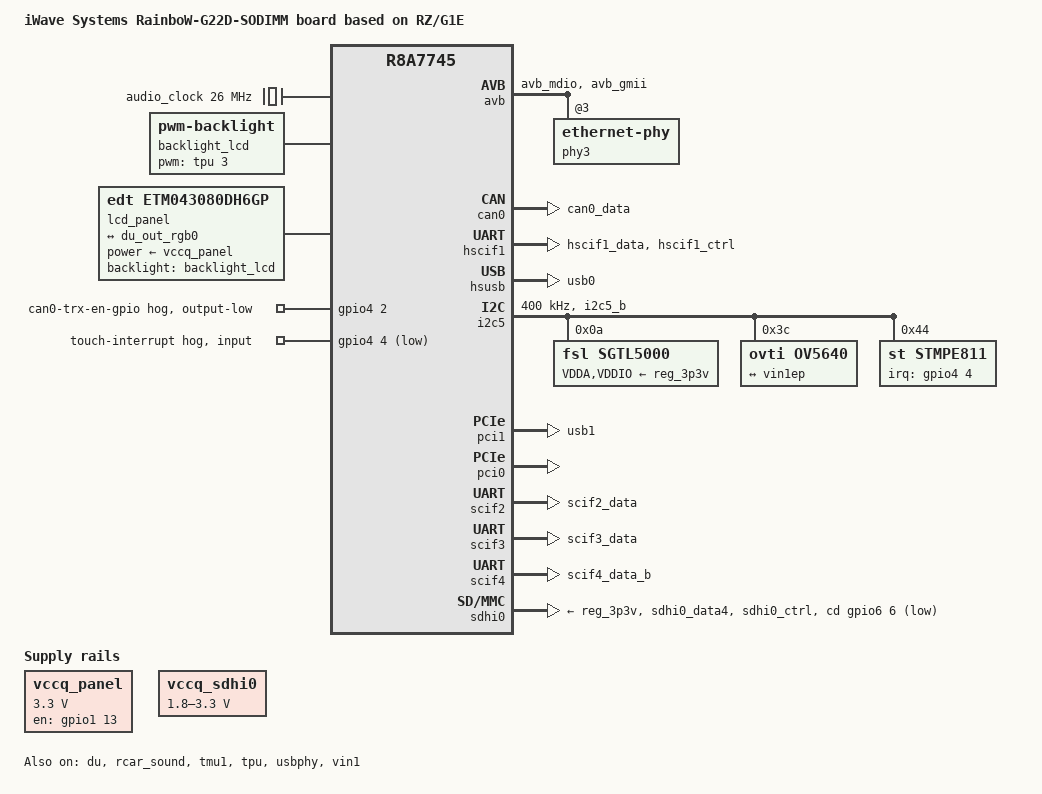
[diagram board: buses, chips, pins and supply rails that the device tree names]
// SPDX-License-Identifier: GPL-2.0
/*
 * Device Tree Source for the iWave-RZG1E SODIMM carrier board
 *
 * Copyright (C) 2017 Renesas Electronics Corp.
 */

/*
 * SSI-SGTL5000
 *
 * This command is required when Playback/Capture
 *
 *      amixer set "DVC Out" 100%
 *      amixer set "DVC In" 100%
 *
 * You can use Mute
 *
 *      amixer set "DVC Out Mute" on
 *      amixer set "DVC In Mute" on
 *
 * You can use Volume Ramp
 *
 *      amixer set "DVC Out Ramp Up Rate"   "0.125 dB/64 steps"
 *      amixer set "DVC Out Ramp Down Rate" "0.125 dB/512 steps"
 *      amixer set "DVC Out Ramp" on
 *      aplay xxx.wav &
 *      amixer set "DVC Out"  80%  // Volume Down
 *      amixer set "DVC Out" 100%  // Volume Up
 */

/dts-v1/;
#include "r8a7745-iwg22m.dtsi"
#include <dt-bindings/pwm/pwm.h>

/ {
	model = "iWave Systems RainboW-G22D-SODIMM board based on RZ/G1E";
	compatible = "iwave,g22d", "iwave,g22m", "renesas,r8a7745";

	aliases {
		ethernet0 = &avb;
		serial1 = &scif2;
		serial2 = &scif3;
		serial3 = &scif4;
		serial5 = &hscif1;
	};

	chosen {
		bootargs = "ignore_loglevel rw root=/dev/nfs ip=on";
		stdout-path = "serial3:115200n8";
	};

	audio_clock: audio_clock {
		compatible = "fixed-clock";
		#clock-cells = <0>;
		clock-frequency = <26000000>;
	};

	backlight_lcd: backlight {
		compatible = "pwm-backlight";
		pwms = <&tpu 3 5000000 PWM_POLARITY_INVERTED>;
		brightness-levels = <0 4 8 16 32 64 128 255>;
		default-brightness-level = <7>;
	};

	lcd_panel: lcd {
		compatible = "edt,etm043080dh6gp";
		power-supply = <&vccq_panel>;
		backlight = <&backlight_lcd>;

		port {
			lcd_in: endpoint {
				remote-endpoint = <&du_out_rgb0>;
			};
		};
	};

	vccq_panel: regulator-vccq-panel {
		compatible = "regulator-fixed";
		regulator-name = "Panel VccQ";
		regulator-min-microvolt = <3300000>;
		regulator-max-microvolt = <3300000>;
		gpio = <&gpio1 13 GPIO_ACTIVE_LOW>;
		enable-active-high;
	};

	vccq_sdhi0: regulator-vccq-sdhi0 {
		compatible = "regulator-gpio";

		regulator-name = "SDHI0 VccQ";
		regulator-min-microvolt = <1800000>;
		regulator-max-microvolt = <3300000>;

		gpios = <&gpio0 20 GPIO_ACTIVE_LOW>;
		gpios-states = <1>;
		states = <3300000 1>, <1800000 0>;
	};

	rsnd_sgtl5000: sound {
		compatible = "simple-audio-card";
		simple-audio-card,format = "i2s";
		simple-audio-card,bitclock-master = <&sndcodec>;
		simple-audio-card,frame-master = <&sndcodec>;

		sndcpu: simple-audio-card,cpu {
			sound-dai = <&rcar_sound>;
		};

		sndcodec: simple-audio-card,codec {
			sound-dai = <&sgtl5000>;
		};
	};
};

&avb {
	pinctrl-0 = <&avb_pins>;
	pinctrl-names = "default";

	phy-handle = <&phy3>;
	phy-mode = "gmii";
	renesas,no-ether-link;
	status = "okay";

	phy3: ethernet-phy@3 {
	/*
	 * On some older versions of the platform (before R4.0) the phy address
	 * may be 1 or 3. The address is fixed to 3 for R4.0 onwards.
	 */
		reg = <3>;
		micrel,led-mode = <1>;
	};
};

&can0 {
	pinctrl-0 = <&can0_pins>;
	pinctrl-names = "default";

	status = "okay";
};

&du {
	pinctrl-0 = <&du0_pins>;
	pinctrl-names = "default";

	status = "okay";

	ports {
		port@0 {
			endpoint {
				remote-endpoint = <&lcd_in>;
			};
		};
	};
};

&gpio4 {
	can0-trx-en-gpio {
		gpio-hog;
		gpios = <2 GPIO_ACTIVE_HIGH>;
		output-low;
		line-name = "can0-trx-en-gpio";
	};
};

&gpio4 {
	touch-interrupt {
		gpio-hog;
		gpios = <4 GPIO_ACTIVE_LOW>;
		input;
	};
};

&hscif1 {
	pinctrl-0 = <&hscif1_pins>;
	pinctrl-names = "default";

	uart-has-rtscts;
	status = "okay";
};

&hsusb {
	status = "okay";
	pinctrl-0 = <&usb0_pins>;
	pinctrl-names = "default";
};

&i2c5 {
	pinctrl-0 = <&i2c5_pins>;
	pinctrl-names = "default";

	status = "okay";
	clock-frequency = <400000>;

	sgtl5000: codec@a {
		compatible = "fsl,sgtl5000";
		#sound-dai-cells = <0>;
		reg = <0x0a>;
		clocks = <&audio_clock>;
		VDDA-supply = <&reg_3p3v>;
		VDDIO-supply = <&reg_3p3v>;
	};

	ov5640@3c {
		compatible = "ovti,ov5640";
		reg = <0x3c>;
		remote = <&vin1>;

		port {
			ov5640: endpoint {
				bus-width = <8>;
				pclk-sample = <1>;
				remote-endpoint = <&vin1ep>;
			};
		};
	};

	stmpe811@44 {
		compatible = "st,stmpe811";
		reg = <0x44>;
		interrupt-parent = <&gpio4>;
		interrupts = <4 IRQ_TYPE_LEVEL_LOW>;

		/* 3.25 MHz ADC clock speed */
		st,adc-freq = <1>;
		/* ADC conversion time: 80 clocks */
		st,sample-time = <4>;
		/* 12-bit ADC */
		st,mod-12b = <1>;
		/* internal ADC reference */
		st,ref-sel = <0>;

		stmpe_touchscreen {
			compatible = "st,stmpe-ts";
			/* 8 sample average control */
			st,ave-ctrl = <3>;
			/* 7 length fractional part in z */
			st,fraction-z = <7>;
			/*
			 * 50 mA typical 80 mA max touchscreen drivers
			 * current limit value
			 */
			st,i-drive = <1>;
			/* 1 ms panel driver settling time */
			st,settling = <3>;
			/* 5 ms touch detect interrupt delay */
			st,touch-det-delay = <5>;
		};
	};
};

&pci1 {
	status = "okay";
	pinctrl-0 = <&usb1_pins>;
	pinctrl-names = "default";
};

&pci0 {
	status = "okay";
};

&pfc {
	avb_pins: avb {
		groups = "avb_mdio", "avb_gmii";
		function = "avb";
	};

	backlight_pins: backlight {
		groups = "tpu_to3_c";
		function = "tpu";
	};

	can0_pins: can0 {
		groups = "can0_data";
		function = "can0";
	};

	du0_pins: du0 {
		groups = "du0_rgb666", "du0_sync", "du0_disp", "du0_clk0_out";
		function = "du0";
	};

	hscif1_pins: hscif1 {
		groups = "hscif1_data", "hscif1_ctrl";
		function = "hscif1";
	};

	i2c5_pins: i2c5 {
		groups = "i2c5_b";
		function = "i2c5";
	};

	scif2_pins: serial1 {
		groups = "scif2_data";
		function = "scif2";
	};

	scif3_pins: serial2 {
		groups = "scif3_data";
		function = "scif3";
	};

	scif4_pins: scif4 {
		groups = "scif4_data_b";
		function = "scif4";
	};

	sdhi0_pins: sd0 {
		groups = "sdhi0_data4", "sdhi0_ctrl";
		function = "sdhi0";
		power-source = <3300>;
	};

	sdhi0_pins_uhs: sd0_uhs {
		groups = "sdhi0_data4", "sdhi0_ctrl";
		function = "sdhi0";
		power-source = <1800>;
	};

	sound_pins: sound {
		groups = "ssi34_ctrl", "ssi3_data", "ssi4_data";
		function = "ssi";
	};

	usb0_pins: usb0 {
		groups = "usb0";
		function = "usb0";
	};

	usb1_pins: usb1 {
		groups = "usb1";
		function = "usb1";
	};

	vin1_pins: vin1 {
		groups = "vin1_data8", "vin1_sync", "vin1_clk";
		function = "vin1";
	};
};

&rcar_sound {
	pinctrl-0 = <&sound_pins>;
	pinctrl-names = "default";
	status = "okay";

	/* Single DAI */

	#sound-dai-cells = <0>;

	rcar_sound,dai {
		dai0 {
			playback = <&ssi3 &src3 &dvc0>;
			capture = <&ssi4 &src4 &dvc1>;
		};
	};
};

&scif2 {
	pinctrl-0 = <&scif2_pins>;
	pinctrl-names = "default";

	status = "okay";
};

&scif3 {
	pinctrl-0 = <&scif3_pins>;
	pinctrl-names = "default";

	status = "okay";
};

&scif4 {
	pinctrl-0 = <&scif4_pins>;
	pinctrl-names = "default";

	status = "okay";
};

&tmu1 {
	status = "okay";
};

&sdhi0 {
	pinctrl-0 = <&sdhi0_pins>;
	pinctrl-1 = <&sdhi0_pins_uhs>;
	pinctrl-names = "default", "state_uhs";

	vmmc-supply = <&reg_3p3v>;
	vqmmc-supply = <&vccq_sdhi0>;
	cd-gpios = <&gpio6 6 GPIO_ACTIVE_LOW>;
	sd-uhs-sdr50;
	status = "okay";
};

&ssi4 {
	shared-pin;
};

&tpu {
	pinctrl-0 = <&backlight_pins>;
	pinctrl-names = "default";
	status = "okay";
};

&usbphy {
	status = "okay";
	renesas,id-gpio = <&gpio4 6 GPIO_ACTIVE_LOW>;
	renesas,vbus-gpio = <&gpio5 25 GPIO_ACTIVE_LOW>;
	renesas,vbus-pwr-gpio = <&gpio5 24 GPIO_ACTIVE_LOW>;
	renesas,wakeup;
};

&vin1 {
	status = "okay";
	pinctrl-0 = <&vin1_pins>;
	pinctrl-names = "default";

	port {
		#address-cells = <1>;
		#size-cells = <0>;

		vin1ep: endpoint {
			remote-endpoint = <&ov5640>;
			bus-width = <8>;
		};
	};
};
